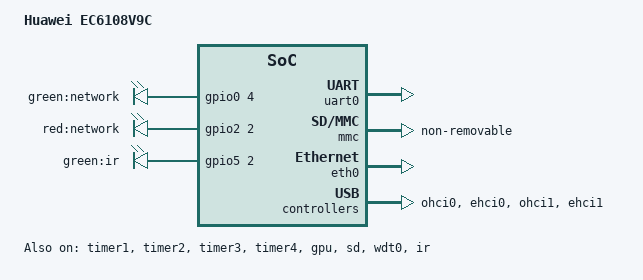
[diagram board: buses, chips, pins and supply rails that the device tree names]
// SPDX-License-Identifier: GPL-2.0-or-later OR MIT

/dts-v1/;
#include "hi3798mv100.dtsi"

/ {
	model = "Huawei EC6108V9C";

	chosen {
		stdout-path = "serial0:115200n8";
	};

	leds {
		compatible = "gpio-leds";

		network {
			label = "green:network";
			gpios = <&gpio0 4 GPIO_ACTIVE_HIGH>;
			default-state = "off";
		};

		network-activity {
			label = "red:network";
			gpios = <&gpio2 2 GPIO_ACTIVE_HIGH>;
			default-state = "off";
		};

		ir {
			label = "green:ir";
			gpios = <&gpio5 2 GPIO_ACTIVE_HIGH>;
			panic-indicator;
			default-state = "off";
		};
	};
};

&timer1 {
	status = "okay";
};

&timer2 {
	status = "okay";
};

&timer3 {
	status = "okay";
};

&timer4 {
	status = "okay";
};

&uart0 {
	status = "okay";
};

&gpio0 {
	status = "okay";
};

&gpio2 {
	status = "okay";
};

&gpio5 {
	status = "okay";
};

&gpu {
	status = "okay";
};

&mmc {
	fifo-depth = <256>;
	clock-frequency = <100000000>;
	cap-mmc-highspeed;
	mmc-ddr-1_8v;
	mmc-hs200-1_8v;
	non-removable;
	status = "okay";
};

&sd {
	status = "okay";
};

&eth0 {
	status = "okay";
};

&ohci0 {
	status = "okay";
};

&ehci0 {
	status = "okay";
};

&ohci1 {
	status = "okay";
};

&ehci1 {
	status = "okay";
};

&wdt0 {
	status = "okay";
};

&ir {
	status = "okay";
};
